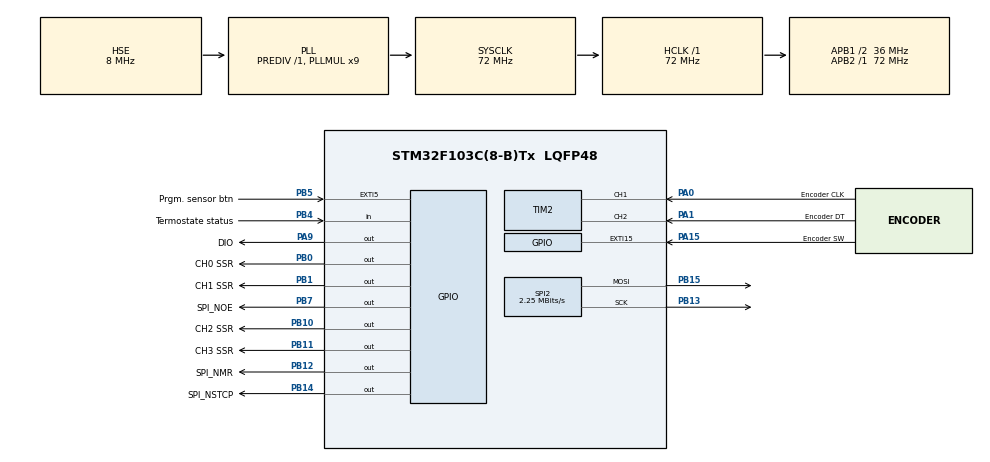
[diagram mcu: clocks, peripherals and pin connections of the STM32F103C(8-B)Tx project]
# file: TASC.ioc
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FREERTOS.Tasks01=defaultTask,24,128,StartDefaultTask,Default,NULL,Dynamic,NULL,NULL
FREERTOS.configQUEUE_REGISTRY_SIZE=10
FREERTOS.configTICK_RATE_HZ=1000
FREERTOS.configTOTAL_HEAP_SIZE=4096
IWDG.Prescaler=IWDG_PRESCALER_256
Mcu.Family=STM32F1
Mcu.Name=STM32F103C(8-B)Tx
Mcu.Package=LQFP48
NVIC.EXTI15_10_IRQn=true\:5\:0\:false\:true\:true\:1\:true\:true\:true
NVIC.EXTI9_5_IRQn=true\:5\:0\:false\:true\:true\:2\:true\:true\:true
NVIC.PriorityGroup=NVIC_PRIORITYGROUP_4
NVIC.TIM1_UP_IRQn=true\:0\:0\:false\:false\:true\:false\:false\:true
NVIC.TimeBase=TIM1_UP_IRQn
NVIC.TimeBaseIP=TIM1
PA0-WKUP.GPIO_Label=Encoder CLK
PA0-WKUP.Signal=S_TIM2_CH1_ETR
PA1.GPIO_Label=Encoder DT
PA1.Signal=S_TIM2_CH2
PA13.Mode=Serial_Wire
PA13.Signal=SYS_JTMS-SWDIO
PA14.Mode=Serial_Wire
PA14.Signal=SYS_JTCK-SWCLK
PA15.GPIO_Label=Encoder SW
PA15.GPIO_ModeDefaultEXTI=GPIO_MODE_IT_RISING_FALLING
PA15.GPIO_PuPd=GPIO_PULLUP
PA15.Signal=GPXTI15
PA9.GPIO_Label=DIO
PA9.Signal=GPIO_Output
PB0.GPIO_Label=CH0 SSR
PB0.PinState=GPIO_PIN_SET
PB0.Signal=GPIO_Output
PB1.GPIO_Label=CH1 SSR
PB1.PinState=GPIO_PIN_SET
PB1.Signal=GPIO_Output
PB10.GPIO_Label=CH2 SSR
PB10.PinState=GPIO_PIN_SET
PB10.Signal=GPIO_Output
PB11.GPIO_Label=CH3 SSR
PB11.PinState=GPIO_PIN_SET
PB11.Signal=GPIO_Output
PB12.GPIO_Label=SPI_NMR
PB12.PinState=GPIO_PIN_SET
PB12.Signal=GPIO_Output
PB13.Mode=TX_Only_Simplex_Unidirect_Master
PB13.Signal=SPI2_SCK
PB14.GPIO_Label=SPI_NSTCP
PB14.PinState=GPIO_PIN_SET
PB14.Signal=GPIO_Output
PB15.Mode=TX_Only_Simplex_Unidirect_Master
PB15.Signal=SPI2_MOSI
PB4.GPIO_Label=Termostate status
PB4.GPIO_PuPd=GPIO_PULLUP
PB4.Signal=GPIO_Input
PB5.GPIO_Label=Prgm. sensor btn
PB5.GPIO_ModeDefaultEXTI=GPIO_MODE_IT_RISING_FALLING
PB5.GPIO_PuPd=GPIO_PULLUP
PB5.Signal=GPXTI5
PB7.GPIO_Label=SPI_NOE
PB7.GPIO_Speed=GPIO_SPEED_FREQ_HIGH
PB7.PinState=GPIO_PIN_RESET
PB7.Signal=GPIO_Output
PC14-OSC32_IN.Mode=LSE-External-Oscillator
PC14-OSC32_IN.Signal=RCC_OSC32_IN
PC15-OSC32_OUT.Mode=LSE-External-Oscillator
PC15-OSC32_OUT.Signal=RCC_OSC32_OUT
PD0-OSC_IN.Mode=HSE-External-Oscillator
PD0-OSC_IN.Signal=RCC_OSC_IN
PD1-OSC_OUT.Mode=HSE-External-Oscillator
PD1-OSC_OUT.Signal=RCC_OSC_OUT
ProjectManager.HeapSize=0x200
ProjectManager.StackSize=0x400
ProjectManager.TargetToolchain=STM32CubeIDE
RCC.AHBFreq_Value=72000000
RCC.APB1CLKDivider=RCC_HCLK_DIV2
RCC.APB1Freq_Value=36000000
RCC.APB1TimFreq_Value=72000000
RCC.APB2Freq_Value=72000000
RCC.APB2TimFreq_Value=72000000
RCC.EnbaleCSS=true
RCC.HCLKFreq_Value=72000000
RCC.PLLMUL=RCC_PLL_MUL9
RCC.PLLSourceVirtual=RCC_PLLSOURCE_HSE
RCC.RTCClockSelection=RCC_RTCCLKSOURCE_LSE
RCC.SYSCLKFreq_VALUE=72000000
RCC.SYSCLKSource=RCC_SYSCLKSOURCE_PLLCLK
RCC.USBFreq_Value=72000000
SH.S_TIM2_CH1_ETR.0=TIM2_CH1,Encoder_Interface
SH.S_TIM2_CH2.0=TIM2_CH2,Encoder_Interface
SPI2.BaudRatePrescaler=SPI_BAUDRATEPRESCALER_16
SPI2.CLKPhase=SPI_PHASE_2EDGE
SPI2.CLKPolarity=SPI_POLARITY_LOW
SPI2.CalculateBaudRate=2.25 MBits/s
SPI2.Direction=SPI_DIRECTION_2LINES
SPI2.FirstBit=SPI_FIRSTBIT_MSB
SPI2.Mode=SPI_MODE_MASTER
SPI2.VirtualType=VM_MASTER
TIM4.AutoReloadPreload=TIM_AUTORELOAD_PRELOAD_ENABLE
TIM4.Prescaler=72
VP_FREERTOS_VS_CMSIS_V2.Mode=CMSIS_V2
VP_IWDG_VS_IWDG.Mode=IWDG_Activate
VP_RTC_VS_RTC_Activate.Mode=RTC_Enabled
VP_RTC_VS_RTC_Calendar.Mode=RTC_Calendar
VP_SYS_VS_tim1.Mode=TIM1
VP_TIM4_VS_ClockSourceINT.Mode=Internal
board=custom

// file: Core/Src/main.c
/* USER CODE BEGIN Header */
/**
  ******************************************************************************
  * @file           : main.c
  * @brief          : Main program body
  ******************************************************************************
  * @attention
  *
  * <h2><center>&copy; Copyright (c) 2022 STMicroelectronics.
  * All rights reserved.</center></h2>
  *
  * This software component is licensed by ST under Ultimate Liberty license
  * SLA0044, the "License"; You may not use this file except in compliance with
  * the License. You may obtain a copy of the License at:
  *                             www.st.com/SLA0044
  *
  ******************************************************************************
  */
/* USER CODE END Header */
#include "main.h"
#include "cmsis_os.h"

/* USER CODE BEGIN Includes */
#include "DeviceDrivers/HC595.h"
#include "DeviceDrivers/IndicatorsDriver.h"
#include "DeviceDrivers/DS18B20Driver.h"
#include "DeviceDrivers/StateInputs.h"
#include "DeviceDrivers/Outputs.h"
#include "Helpers/RTOSWD.h"
#include "HighLevelModules/MemoryManagement.h"
#include "HighLevelModules/ThermalSensors.h"
#include "MainLogic/MainLogic.h"

#include <stdio.h>

/* USER CODE END Includes */

IWDG_HandleTypeDef hiwdg;

RTC_HandleTypeDef hrtc;

SPI_HandleTypeDef hspi2;

TIM_HandleTypeDef htim2;
TIM_HandleTypeDef htim4;

/* Definitions for defaultTask */
osThreadId_t defaultTaskHandle;
const osThreadAttr_t defaultTask_attributes = {
  .name = "defaultTask",
  .stack_size = 128 * 4,
  .priority = (osPriority_t) osPriorityNormal,
};

void SystemClock_Config(void);
static void MX_GPIO_Init(void);
static void MX_RTC_Init(void);
static void MX_TIM2_Init(void);
static void MX_SPI2_Init(void);
static void MX_TIM4_Init(void);
static void MX_IWDG_Init(void);
void StartDefaultTask(void *argument);

static void MX_NVIC_Init(void);

int main(void)
{

  /* MCU Configuration--------------------------------------------------------*/

  /* Reset of all peripherals, Initializes the Flash interface and the Systick. */
  HAL_Init();

  /* USER CODE BEGIN Init */
	printf("Start debug\n");
  /* USER CODE END Init */

  /* Configure the system clock */
  SystemClock_Config();

  /* Initialize all configured peripherals */
  MX_GPIO_Init();
  MX_RTC_Init();
  MX_TIM2_Init();
  MX_SPI2_Init();
  MX_TIM4_Init();
  MX_IWDG_Init();

  /* Initialize interrupts */
  MX_NVIC_Init();

  /* Init scheduler */
  osKernelInitialize();

  /* Create the thread(s) */
  /* creation of defaultTask */
  defaultTaskHandle = osThreadNew(StartDefaultTask, NULL, &defaultTask_attributes);

  /* USER CODE BEGIN RTOS_THREADS */
	RTOSWD_init(&hiwdg);
	Outputs_init();
	HC595_init(&hspi2);
	IndicatorsDriver_init();
	//DS18B20Driver_init(&htim4);
	StateInputs_init(&htim2);

	MM_init();
	ThermalSensors_init(&htim4, MM_getUids());
  /* add threads, ... */
  /* USER CODE END RTOS_THREADS */

  /* Start scheduler */
  osKernelStart();

  /* We should never get here as control is now taken by the scheduler */
  /* Infinite loop */
  while (1)
  {

  }
}

void SystemClock_Config(void)
{
  RCC_OscInitTypeDef RCC_OscInitStruct = {0};
  RCC_ClkInitTypeDef RCC_ClkInitStruct = {0};
  RCC_PeriphCLKInitTypeDef PeriphClkInit = {0};

  /** Initializes the RCC Oscillators according to the specified parameters
  * in the RCC_OscInitTypeDef structure.
  */
  RCC_OscInitStruct.OscillatorType = RCC_OSCILLATORTYPE_LSI|RCC_OSCILLATORTYPE_HSE
                              |RCC_OSCILLATORTYPE_LSE;
  RCC_OscInitStruct.HSEState = RCC_HSE_ON;
  RCC_OscInitStruct.HSEPredivValue = RCC_HSE_PREDIV_DIV1;
  RCC_OscInitStruct.LSEState = RCC_LSE_ON;
  RCC_OscInitStruct.HSIState = RCC_HSI_ON;
  RCC_OscInitStruct.LSIState = RCC_LSI_ON;
  RCC_OscInitStruct.PLL.PLLState = RCC_PLL_ON;
  RCC_OscInitStruct.PLL.PLLSource = RCC_PLLSOURCE_HSE;
  RCC_OscInitStruct.PLL.PLLMUL = RCC_PLL_MUL9;
  if (HAL_RCC_OscConfig(&RCC_OscInitStruct) != HAL_OK)
  {
    Error_Handler();
  }
  /** Initializes the CPU, AHB and APB buses clocks
  */
  RCC_ClkInitStruct.ClockType = RCC_CLOCKTYPE_HCLK|RCC_CLOCKTYPE_SYSCLK
                              |RCC_CLOCKTYPE_PCLK1|RCC_CLOCKTYPE_PCLK2;
  RCC_ClkInitStruct.SYSCLKSource = RCC_SYSCLKSOURCE_PLLCLK;
  RCC_ClkInitStruct.AHBCLKDivider = RCC_SYSCLK_DIV1;
  RCC_ClkInitStruct.APB1CLKDivider = RCC_HCLK_DIV2;
  RCC_ClkInitStruct.APB2CLKDivider = RCC_HCLK_DIV1;

  if (HAL_RCC_ClockConfig(&RCC_ClkInitStruct, FLASH_LATENCY_2) != HAL_OK)
  {
    Error_Handler();
  }
  PeriphClkInit.PeriphClockSelection = RCC_PERIPHCLK_RTC;
  PeriphClkInit.RTCClockSelection = RCC_RTCCLKSOURCE_LSE;
  if (HAL_RCCEx_PeriphCLKConfig(&PeriphClkInit) != HAL_OK)
  {
    Error_Handler();
  }
  /** Enables the Clock Security System
  */
  HAL_RCC_EnableCSS();
}

/**
  * @brief NVIC Configuration.
  * @retval None
  */
static void MX_NVIC_Init(void)
{
  /* EXTI15_10_IRQn interrupt configuration */
  HAL_NVIC_SetPriority(EXTI15_10_IRQn, 5, 0);
  HAL_NVIC_EnableIRQ(EXTI15_10_IRQn);
  /* EXTI9_5_IRQn interrupt configuration */
  HAL_NVIC_SetPriority(EXTI9_5_IRQn, 5, 0);
  HAL_NVIC_EnableIRQ(EXTI9_5_IRQn);
}

static void MX_IWDG_Init(void)
{

  hiwdg.Instance = IWDG;
  hiwdg.Init.Prescaler = IWDG_PRESCALER_256;
  hiwdg.Init.Reload = 4095;
  if (HAL_IWDG_Init(&hiwdg) != HAL_OK)
  {
    Error_Handler();
  }

}

static void MX_RTC_Init(void)
{

  RTC_TimeTypeDef sTime = {0};
  RTC_DateTypeDef DateToUpdate = {0};

  /** Initialize RTC Only
  */
  hrtc.Instance = RTC;
  hrtc.Init.AsynchPrediv = RTC_AUTO_1_SECOND;
  hrtc.Init.OutPut = RTC_OUTPUTSOURCE_ALARM;
  if (HAL_RTC_Init(&hrtc) != HAL_OK)
  {
    Error_Handler();
  }

  /** Initialize RTC and set the Time and Date
  */
  sTime.Hours = 0x0;
  sTime.Minutes = 0x0;
  sTime.Seconds = 0x0;

  if (HAL_RTC_SetTime(&hrtc, &sTime, RTC_FORMAT_BCD) != HAL_OK)
  {
    Error_Handler();
  }
  DateToUpdate.WeekDay = RTC_WEEKDAY_MONDAY;
  DateToUpdate.Month = RTC_MONTH_JANUARY;
  DateToUpdate.Date = 0x1;
  DateToUpdate.Year = 0x0;

  if (HAL_RTC_SetDate(&hrtc, &DateToUpdate, RTC_FORMAT_BCD) != HAL_OK)
  {
    Error_Handler();
  }

}

static void MX_SPI2_Init(void)
{

  /* SPI2 parameter configuration*/
  hspi2.Instance = SPI2;
  hspi2.Init.Mode = SPI_MODE_MASTER;
  hspi2.Init.Direction = SPI_DIRECTION_2LINES;
  hspi2.Init.DataSize = SPI_DATASIZE_8BIT;
  hspi2.Init.CLKPolarity = SPI_POLARITY_LOW;
  hspi2.Init.CLKPhase = SPI_PHASE_2EDGE;
  hspi2.Init.NSS = SPI_NSS_SOFT;
  hspi2.Init.BaudRatePrescaler = SPI_BAUDRATEPRESCALER_16;
  hspi2.Init.FirstBit = SPI_FIRSTBIT_MSB;
  hspi2.Init.TIMode = SPI_TIMODE_DISABLE;
  hspi2.Init.CRCCalculation = SPI_CRCCALCULATION_DISABLE;
  hspi2.Init.CRCPolynomial = 10;
  if (HAL_SPI_Init(&hspi2) != HAL_OK)
  {
    Error_Handler();
  }

}

static void MX_TIM2_Init(void)
{

  TIM_Encoder_InitTypeDef sConfig = {0};
  TIM_MasterConfigTypeDef sMasterConfig = {0};

  htim2.Instance = TIM2;
  htim2.Init.Prescaler = 0;
  htim2.Init.CounterMode = TIM_COUNTERMODE_UP;
  htim2.Init.Period = 65535;
  htim2.Init.ClockDivision = TIM_CLOCKDIVISION_DIV1;
  htim2.Init.AutoReloadPreload = TIM_AUTORELOAD_PRELOAD_DISABLE;
  sConfig.EncoderMode = TIM_ENCODERMODE_TI1;
  sConfig.IC1Polarity = TIM_ICPOLARITY_RISING;
  sConfig.IC1Selection = TIM_ICSELECTION_DIRECTTI;
  sConfig.IC1Prescaler = TIM_ICPSC_DIV1;
  sConfig.IC1Filter = 0;
  sConfig.IC2Polarity = TIM_ICPOLARITY_RISING;
  sConfig.IC2Selection = TIM_ICSELECTION_DIRECTTI;
  sConfig.IC2Prescaler = TIM_ICPSC_DIV1;
  sConfig.IC2Filter = 0;
  if (HAL_TIM_Encoder_Init(&htim2, &sConfig) != HAL_OK)
  {
    Error_Handler();
  }
  sMasterConfig.MasterOutputTrigger = TIM_TRGO_RESET;
  sMasterConfig.MasterSlaveMode = TIM_MASTERSLAVEMODE_DISABLE;
  if (HAL_TIMEx_MasterConfigSynchronization(&htim2, &sMasterConfig) != HAL_OK)
  {
    Error_Handler();
  }

}

static void MX_TIM4_Init(void)
{

  TIM_ClockConfigTypeDef sClockSourceConfig = {0};
  TIM_MasterConfigTypeDef sMasterConfig = {0};

  htim4.Instance = TIM4;
  htim4.Init.Prescaler = 72;
  htim4.Init.CounterMode = TIM_COUNTERMODE_UP;
  htim4.Init.Period = 65535;
  htim4.Init.ClockDivision = TIM_CLOCKDIVISION_DIV1;
  htim4.Init.AutoReloadPreload = TIM_AUTORELOAD_PRELOAD_ENABLE;
  if (HAL_TIM_Base_Init(&htim4) != HAL_OK)
  {
    Error_Handler();
  }
  sClockSourceConfig.ClockSource = TIM_CLOCKSOURCE_INTERNAL;
  if (HAL_TIM_ConfigClockSource(&htim4, &sClockSourceConfig) != HAL_OK)
  {
    Error_Handler();
  }
  sMasterConfig.MasterOutputTrigger = TIM_TRGO_RESET;
  sMasterConfig.MasterSlaveMode = TIM_MASTERSLAVEMODE_DISABLE;
  if (HAL_TIMEx_MasterConfigSynchronization(&htim4, &sMasterConfig) != HAL_OK)
  {
    Error_Handler();
  }
  /* USER CODE BEGIN TIM4_Init 2 */
  HAL_TIM_Base_Start(&htim4);
  /* USER CODE END TIM4_Init 2 */

}

static void MX_GPIO_Init(void)
{
  GPIO_InitTypeDef GPIO_InitStruct = {0};

  /* GPIO Ports Clock Enable */
  __HAL_RCC_GPIOC_CLK_ENABLE();
  __HAL_RCC_GPIOD_CLK_ENABLE();
  __HAL_RCC_GPIOA_CLK_ENABLE();
  __HAL_RCC_GPIOB_CLK_ENABLE();

  /*Configure GPIO pin Output Level */
  HAL_GPIO_WritePin(GPIOB, CH0_SSR_Pin|CH1_SSR_Pin|CH2_SSR_Pin|CH3_SSR_Pin
                          |SPI_NMR_Pin|SPI_NSTCP_Pin, GPIO_PIN_SET);

  /*Configure GPIO pin Output Level */
  HAL_GPIO_WritePin(DIO_GPIO_Port, DIO_Pin, GPIO_PIN_RESET);

  /*Configure GPIO pin Output Level */
  HAL_GPIO_WritePin(SPI_NOE_GPIO_Port, SPI_NOE_Pin, GPIO_PIN_RESET);

  /*Configure GPIO pins : CH0_SSR_Pin CH1_SSR_Pin CH2_SSR_Pin CH3_SSR_Pin
                           SPI_NMR_Pin SPI_NSTCP_Pin */
  GPIO_InitStruct.Pin = CH0_SSR_Pin|CH1_SSR_Pin|CH2_SSR_Pin|CH3_SSR_Pin
                          |SPI_NMR_Pin|SPI_NSTCP_Pin;
  GPIO_InitStruct.Mode = GPIO_MODE_OUTPUT_PP;
  GPIO_InitStruct.Pull = GPIO_NOPULL;
  GPIO_InitStruct.Speed = GPIO_SPEED_FREQ_LOW;
  HAL_GPIO_Init(GPIOB, &GPIO_InitStruct);

  /*Configure GPIO pin : DIO_Pin */
  GPIO_InitStruct.Pin = DIO_Pin;
  GPIO_InitStruct.Mode = GPIO_MODE_OUTPUT_PP;
  GPIO_InitStruct.Pull = GPIO_NOPULL;
  GPIO_InitStruct.Speed = GPIO_SPEED_FREQ_LOW;
  HAL_GPIO_Init(DIO_GPIO_Port, &GPIO_InitStruct);

  /*Configure GPIO pin : Encoder_SW_Pin */
  GPIO_InitStruct.Pin = Encoder_SW_Pin;
  GPIO_InitStruct.Mode = GPIO_MODE_IT_RISING_FALLING;
  GPIO_InitStruct.Pull = GPIO_PULLUP;
  HAL_GPIO_Init(Encoder_SW_GPIO_Port, &GPIO_InitStruct);

  /*Configure GPIO pin : Termostate_status_Pin */
  GPIO_InitStruct.Pin = Termostate_status_Pin;
  GPIO_InitStruct.Mode = GPIO_MODE_INPUT;
  GPIO_InitStruct.Pull = GPIO_PULLUP;
  HAL_GPIO_Init(Termostate_status_GPIO_Port, &GPIO_InitStruct);

  /*Configure GPIO pin : Prgm__sensor_btn_Pin */
  GPIO_InitStruct.Pin = Prgm__sensor_btn_Pin;
  GPIO_InitStruct.Mode = GPIO_MODE_IT_RISING_FALLING;
  GPIO_InitStruct.Pull = GPIO_PULLUP;
  HAL_GPIO_Init(Prgm__sensor_btn_GPIO_Port, &GPIO_InitStruct);

  /*Configure GPIO pin : SPI_NOE_Pin */
  GPIO_InitStruct.Pin = SPI_NOE_Pin;
  GPIO_InitStruct.Mode = GPIO_MODE_OUTPUT_PP;
  GPIO_InitStruct.Pull = GPIO_NOPULL;
  GPIO_InitStruct.Speed = GPIO_SPEED_FREQ_HIGH;
  HAL_GPIO_Init(SPI_NOE_GPIO_Port, &GPIO_InitStruct);

}

void StartDefaultTask(void *argument)
{
  /* USER CODE BEGIN 5 */
  /* Infinite loop */
	RTOSWD_add();
	IndicatorsDriver_setStatusForAll(kLoad);
	while (Outputs_get3WayValveOnResettingPosition())
	{
		osDelay(1000 / portTICK_PERIOD_MS);
		RTOSWD_update();
	}

	bool isMatching = false;
	for (;;)
	{
		if (StateInputs_isMatchMode())
		{
			if (isMatching) {
				ML_match();
			} else {
				isMatching = ML_startMatch();
			}
		} else {
			if (isMatching) {
				isMatching = false;
				ML_stopMatch();
			} else {
				ML_controll();
			}
		}

		if (StateInputs_resetDevice()) {
			MM_reset();
			NVIC_SystemReset();
		}

		osDelay(10 / portTICK_PERIOD_MS);
		RTOSWD_update();
	}

	RTOSWD_remove();
	osThreadTerminate(osThreadGetId());
  /* USER CODE END 5 */
}

 /**
  * @brief  Period elapsed callback in non blocking mode
  * @note   This function is called  when TIM1 interrupt took place, inside
  * HAL_TIM_IRQHandler(). It makes a direct call to HAL_IncTick() to increment
  * a global variable "uwTick" used as application time base.
  * @param  htim : TIM handle
  * @retval None
  */
void HAL_TIM_PeriodElapsedCallback(TIM_HandleTypeDef *htim)
{
  if (htim->Instance == TIM1) {
    HAL_IncTick();
  }
}

void Error_Handler(void)
{
  /* USER CODE BEGIN Error_Handler_Debug */
  /* User can add his own implementation to report the HAL error return state */
  __disable_irq();
  NVIC_SystemReset();
  while (1)
  {
  }
  /* USER CODE END Error_Handler_Debug */
}

/************************ (C) COPYRIGHT STMicroelectronics *****END OF FILE****/
